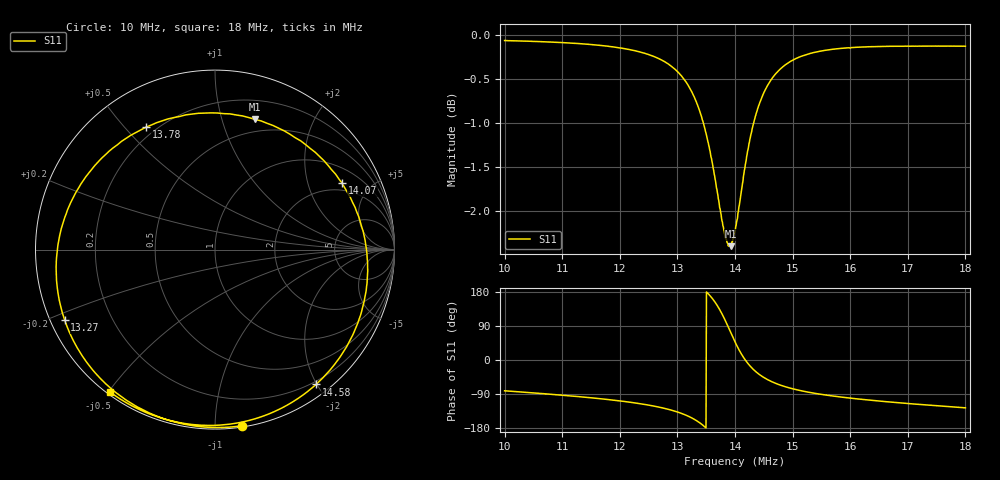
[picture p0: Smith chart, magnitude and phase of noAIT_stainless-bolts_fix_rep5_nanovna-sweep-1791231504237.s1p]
! NanoVNA Web complex sweep
! Processing: unaveraged complex samples; linear segment spacing; no smoothing
# Hz S RI R 50
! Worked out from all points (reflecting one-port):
!   1010 points, 10 MHz to 18 MHz, reference 50 ohm
!   lowest |S11| = -2.4 dB at 13.92 MHz (marker M1), VSWR 7.30, Z = 18.8 + j64.2 ohm
!   phase of S11 starts at -81 deg and turns -405 deg over the sweep
!   S11 on the Smith chart (normalised r, x): 10 MHz: 0.01, -1.17; 13.27 MHz: 0.04, -0.22; 13.78 MHz: 0.16, +0.57; 14.07 MHz: 1.63, +3.33; 14.58 MHz: 0.16, -1.99; 18 MHz: 0.01, -0.51
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1e7  0.1509 -0.9816
1.100698e7  -0.0511 -0.989
1.200604e7  -0.3047 -0.9352
1.260071e7  -0.5134 -0.8257
1.300509e7  -0.7017 -0.6453
1.314781e7  -0.7758 -0.5323
1.327468e7  -0.8376 -0.3925
1.342533e7  -0.8836 -0.1559
1.357598e7  -0.8372 0.1788
1.367906e7  -0.6852 0.4484
1.372663e7  -0.567 0.5672
1.378213e7  -0.3853 0.6818
1.385349e7  -0.0936 0.7593
1.392486e7  0.2227 0.7255
1.400414e7  0.5316 0.563
1.406758e7  0.7081 0.3696
1.412308e7  0.801 0.1826
1.417858e7  0.844 0.00068
1.424202e7  0.8472 -0.1863
1.43213e7  0.8059 -0.3795
1.444024e7  0.702 -0.5904
1.458296e7  0.5629 -0.751
1.476533e7  0.4024 -0.8664
1.50032e7  0.2338 -0.9393
1.543929e7  0.0122 -0.9786
1.600225e7  -0.181 -0.9665
1.700131e7  -0.4144 -0.8944
1.800036e7  -0.5822 -0.7954
